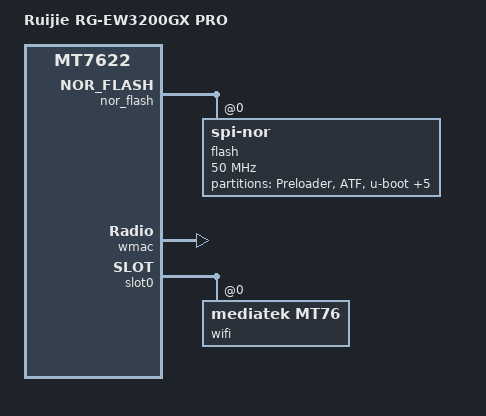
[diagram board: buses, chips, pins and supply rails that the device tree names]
// SPDX-License-Identifier: GPL-2.0-or-later OR MIT

/dts-v1/;
#include "mt7622-ruijie-rg-ew3200.dtsi"

/ {
	model = "Ruijie RG-EW3200GX PRO";
	compatible = "ruijie,rg-ew3200gx-pro", "mediatek,mt7622";
};

&nor_flash {
	status = "okay";

	pinctrl-names = "default";
	pinctrl-0 = <&spi_nor_pins>;

	flash@0 {
		compatible = "jedec,spi-nor";
		reg = <0>;
		spi-max-frequency = <50000000>;

		partitions {
			compatible = "fixed-partitions";
			#address-cells = <1>;
			#size-cells = <1>;

			partition@0 {
				label = "Preloader";
				reg = <0x0 0x40000>;
				read-only;
			};

			partition@40000 {
				label = "ATF";
				reg = <0x40000 0x20000>;
				read-only;
			};

			partition@60000 {
				label = "u-boot";
				reg = <0x60000 0x50000>;
				read-only;
			};

			partition@B0000 {
				label = "u-boot-env";
				reg = <0xb0000 0x20000>;
			};

			factory: partition@D0000 {
				label = "Factory";
				reg = <0xd0000 0x80000>;
				read-only;
			};

			partition@150000 {
				label = "product_info";
				reg = <0x150000 0x10000>;
				read-only;
			};

			partition@160000 {
				label = "kdump";
				reg = <0x160000 0x10000>;
				read-only;
			};

			partition@170000 {
				compatible = "denx,fit";
				label = "firmware";
				reg = <0x170000 0xe90000>;
			};
		};
	};
};

&wmac {
	status = "okay";

	pinctrl-names = "default";
	pinctrl-0 = <&epa_elna_pins>;
	mediatek,mtd-eeprom = <&factory 0x0>;
};

&slot0 {
	wifi@0,0 {
		compatible = "mediatek,mt76";
		reg = <0x0000 0 0 0 0>;
		mediatek,mtd-eeprom = <&factory 0x5000>;
		ieee80211-freq-limit = <5000000 6000000>;
		mediatek,disable-radar-background;
	};
};
